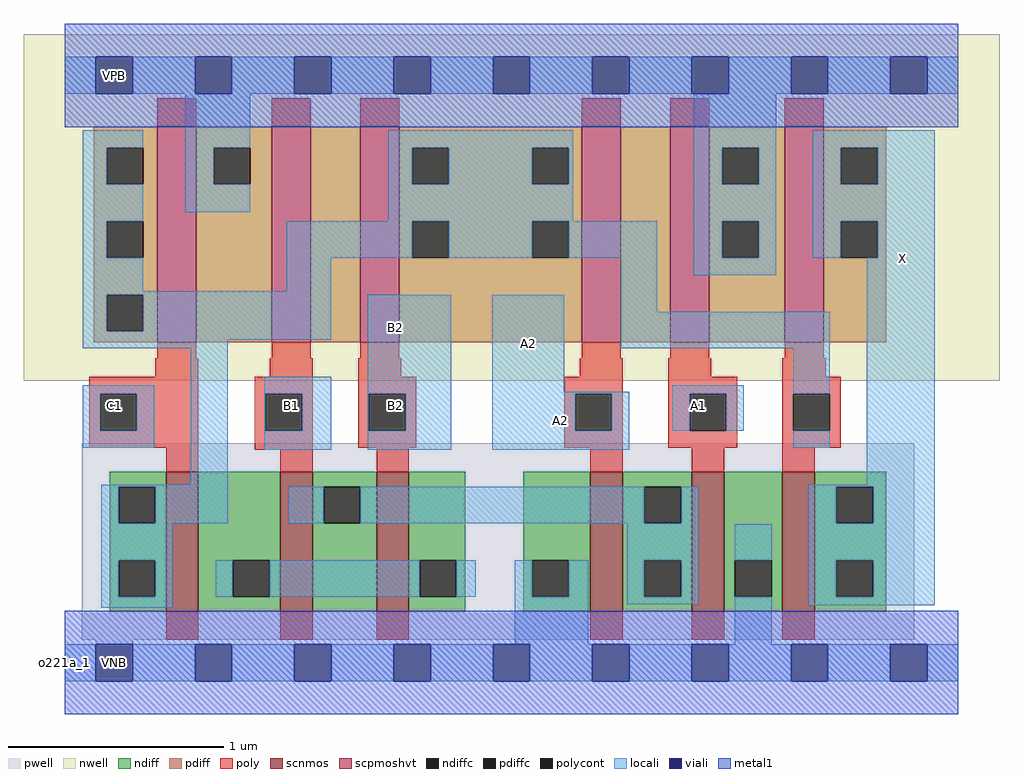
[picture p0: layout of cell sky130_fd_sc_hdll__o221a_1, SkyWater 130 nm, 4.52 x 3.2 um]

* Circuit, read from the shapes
.subckt sky130_fd_sc_hdll__o221a_1 A1 A2 B1 B2 C1 VGND VNB VPB VPWR X
XM1 n1 C1 n2 VNB sky130_fd_pr__nfet_01v8 w=0.65 l=0.15
XM2 n3 B1 n1 VNB sky130_fd_pr__nfet_01v8 w=0.65 l=0.15
XM3 n1 B2 n3 VNB sky130_fd_pr__nfet_01v8 w=0.65 l=0.15
XM4 n3 A2 VGND VNB sky130_fd_pr__nfet_01v8 w=0.65 l=0.15
XM5 VGND A1 n3 VNB sky130_fd_pr__nfet_01v8 w=0.65 l=0.15
XM6 X n2 VGND VNB sky130_fd_pr__nfet_01v8 w=0.65 l=0.15
XM7 VPWR C1 n2 VPB sky130_fd_pr__pfet_01v8_hvt w=1 l=0.18
XM8 n4 B1 VPWR VPB sky130_fd_pr__pfet_01v8_hvt w=1 l=0.18
XM9 n2 B2 n4 VPB sky130_fd_pr__pfet_01v8_hvt w=1 l=0.18
XM10 n5 A2 n2 VPB sky130_fd_pr__pfet_01v8_hvt w=1 l=0.18
XM11 VPWR A1 n5 VPB sky130_fd_pr__pfet_01v8_hvt w=1 l=0.18
XM12 X n2 VPWR VPB sky130_fd_pr__pfet_01v8_hvt w=1 l=0.18
.ends

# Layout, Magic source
magic
tech sky130A
magscale 1 2
<< nwell >>
rect -38 261 866 582
<< pwell >>
rect 16 21 787 203
rect 29 -17 63 21
<< scnmos >>
rect 94 47 124 177
rect 200 47 230 177
rect 289 47 319 177
rect 487 47 517 177
rect 581 47 611 177
rect 665 47 695 177
<< scpmoshvt >>
rect 86 297 122 497
rect 192 297 228 497
rect 274 297 310 497
rect 479 297 515 497
rect 561 297 597 497
rect 667 297 703 497
<< ndiff >>
rect 42 163 94 177
rect 42 129 50 163
rect 84 129 94 163
rect 42 95 94 129
rect 42 61 50 95
rect 84 61 94 95
rect 42 47 94 61
rect 124 95 200 177
rect 124 61 156 95
rect 190 61 200 95
rect 124 47 200 61
rect 230 163 289 177
rect 230 129 240 163
rect 274 129 289 163
rect 230 47 289 129
rect 319 95 371 177
rect 319 61 329 95
rect 363 61 371 95
rect 319 47 371 61
rect 425 95 487 177
rect 425 61 433 95
rect 467 61 487 95
rect 425 47 487 61
rect 517 163 581 177
rect 517 129 537 163
rect 571 129 581 163
rect 517 95 581 129
rect 517 61 537 95
rect 571 61 581 95
rect 517 47 581 61
rect 611 95 665 177
rect 611 61 621 95
rect 655 61 665 95
rect 611 47 665 61
rect 695 163 761 177
rect 695 129 715 163
rect 749 129 761 163
rect 695 95 761 129
rect 695 61 715 95
rect 749 61 761 95
rect 695 47 761 61
<< pdiff >>
rect 27 477 86 497
rect 27 443 39 477
rect 73 443 86 477
rect 27 409 86 443
rect 27 375 39 409
rect 73 375 86 409
rect 27 341 86 375
rect 27 307 39 341
rect 73 307 86 341
rect 27 297 86 307
rect 122 477 192 497
rect 122 443 138 477
rect 172 443 192 477
rect 122 297 192 443
rect 228 297 274 497
rect 310 477 479 497
rect 310 443 322 477
rect 356 443 433 477
rect 467 443 479 477
rect 310 409 479 443
rect 310 375 322 409
rect 356 375 433 409
rect 467 375 479 409
rect 310 297 479 375
rect 515 297 561 497
rect 597 477 667 497
rect 597 443 609 477
rect 643 443 667 477
rect 597 409 667 443
rect 597 375 609 409
rect 643 375 667 409
rect 597 297 667 375
rect 703 477 761 497
rect 703 443 719 477
rect 753 443 761 477
rect 703 409 761 443
rect 703 375 719 409
rect 753 375 761 409
rect 703 297 761 375
<< ndiffc >>
rect 50 129 84 163
rect 50 61 84 95
rect 156 61 190 95
rect 240 129 274 163
rect 329 61 363 95
rect 433 61 467 95
rect 537 129 571 163
rect 537 61 571 95
rect 621 61 655 95
rect 715 129 749 163
rect 715 61 749 95
<< pdiffc >>
rect 39 443 73 477
rect 39 375 73 409
rect 39 307 73 341
rect 138 443 172 477
rect 322 443 356 477
rect 433 443 467 477
rect 322 375 356 409
rect 433 375 467 409
rect 609 443 643 477
rect 609 375 643 409
rect 719 443 753 477
rect 719 375 753 409
<< poly >>
rect 86 497 122 523
rect 192 497 228 523
rect 274 497 310 523
rect 479 497 515 523
rect 561 497 597 523
rect 667 497 703 523
rect 86 282 122 297
rect 192 282 228 297
rect 274 282 310 297
rect 479 282 515 297
rect 561 282 597 297
rect 667 282 703 297
rect 84 265 124 282
rect 190 265 230 282
rect 23 249 124 265
rect 23 215 33 249
rect 67 215 124 249
rect 23 199 124 215
rect 94 177 124 199
rect 176 249 230 265
rect 176 215 186 249
rect 220 215 230 249
rect 176 197 230 215
rect 272 265 312 282
rect 477 265 517 282
rect 272 249 326 265
rect 272 215 282 249
rect 316 215 326 249
rect 272 199 326 215
rect 463 249 517 265
rect 463 215 473 249
rect 507 215 517 249
rect 463 199 517 215
rect 559 265 599 282
rect 665 265 705 282
rect 559 249 623 265
rect 559 215 579 249
rect 613 215 623 249
rect 559 199 623 215
rect 665 249 719 265
rect 665 215 675 249
rect 709 215 719 249
rect 665 199 719 215
rect 200 177 230 197
rect 289 177 319 199
rect 487 177 517 199
rect 581 177 611 199
rect 665 177 695 199
rect 94 21 124 47
rect 200 21 230 47
rect 289 21 319 47
rect 487 21 517 47
rect 581 21 611 47
rect 665 21 695 47
<< polycont >>
rect 33 215 67 249
rect 186 215 220 249
rect 282 215 316 249
rect 473 215 507 249
rect 579 215 613 249
rect 675 215 709 249
<< locali >>
rect 0 527 29 561
rect 63 527 121 561
rect 155 527 213 561
rect 247 527 305 561
rect 339 527 397 561
rect 431 527 489 561
rect 523 527 581 561
rect 615 527 673 561
rect 707 527 765 561
rect 799 527 828 561
rect 17 477 73 493
rect 17 443 39 477
rect 17 409 73 443
rect 112 477 172 527
rect 112 443 138 477
rect 112 417 172 443
rect 300 477 471 493
rect 300 443 322 477
rect 356 443 433 477
rect 467 443 471 477
rect 300 409 471 443
rect 583 477 659 527
rect 583 443 609 477
rect 643 443 659 477
rect 583 409 659 443
rect 17 375 39 409
rect 17 344 73 375
rect 206 375 322 409
rect 356 375 433 409
rect 467 375 549 409
rect 206 344 247 375
rect 17 341 247 344
rect 17 307 39 341
rect 73 307 247 341
rect 17 299 247 307
rect 17 291 151 299
rect 17 249 83 257
rect 17 215 33 249
rect 67 215 83 249
rect 17 199 83 215
rect 117 165 151 291
rect 185 249 247 265
rect 185 215 186 249
rect 220 215 247 249
rect 185 197 247 215
rect 281 249 358 341
rect 281 215 282 249
rect 316 215 358 249
rect 281 197 358 215
rect 396 251 463 341
rect 515 325 549 375
rect 583 375 609 409
rect 643 375 659 409
rect 693 477 806 493
rect 693 443 719 477
rect 753 443 806 477
rect 693 409 806 443
rect 693 375 719 409
rect 753 375 806 409
rect 583 359 659 375
rect 515 291 709 325
rect 396 249 523 251
rect 396 215 473 249
rect 507 215 523 249
rect 563 249 629 257
rect 563 215 579 249
rect 613 215 629 249
rect 675 249 709 291
rect 396 197 523 215
rect 675 199 709 215
rect 743 165 806 375
rect 34 163 151 165
rect 689 163 806 165
rect 34 129 50 163
rect 84 129 151 163
rect 207 129 240 163
rect 274 129 537 163
rect 571 129 587 163
rect 34 95 100 129
rect 521 95 587 129
rect 689 129 715 163
rect 749 129 806 163
rect 34 61 50 95
rect 84 61 100 95
rect 140 61 156 95
rect 190 61 329 95
rect 363 61 381 95
rect 417 61 433 95
rect 467 61 485 95
rect 34 51 100 61
rect 417 17 485 61
rect 521 61 537 95
rect 571 61 587 95
rect 521 54 587 61
rect 621 95 655 128
rect 621 17 655 61
rect 689 95 806 129
rect 689 61 715 95
rect 749 61 806 95
rect 689 53 806 61
rect 0 -17 29 17
rect 63 -17 121 17
rect 155 -17 213 17
rect 247 -17 305 17
rect 339 -17 397 17
rect 431 -17 489 17
rect 523 -17 581 17
rect 615 -17 673 17
rect 707 -17 765 17
rect 799 -17 828 17
<< viali >>
rect 29 527 63 561
rect 121 527 155 561
rect 213 527 247 561
rect 305 527 339 561
rect 397 527 431 561
rect 489 527 523 561
rect 581 527 615 561
rect 673 527 707 561
rect 765 527 799 561
rect 29 -17 63 17
rect 121 -17 155 17
rect 213 -17 247 17
rect 305 -17 339 17
rect 397 -17 431 17
rect 489 -17 523 17
rect 581 -17 615 17
rect 673 -17 707 17
rect 765 -17 799 17
<< metal1 >>
rect 0 561 828 592
rect 0 527 29 561
rect 63 527 121 561
rect 155 527 213 561
rect 247 527 305 561
rect 339 527 397 561
rect 431 527 489 561
rect 523 527 581 561
rect 615 527 673 561
rect 707 527 765 561
rect 799 527 828 561
rect 0 496 828 527
rect 0 17 828 48
rect 0 -17 29 17
rect 63 -17 121 17
rect 155 -17 213 17
rect 247 -17 305 17
rect 339 -17 397 17
rect 431 -17 489 17
rect 523 -17 581 17
rect 615 -17 673 17
rect 707 -17 765 17
rect 799 -17 828 17
rect 0 -48 828 -17
<< labels >>
flabel locali s 396 251 463 341 0 FreeSans 400 0 0 0 A2
port 2 nsew signal input
flabel locali s 759 357 793 391 0 FreeSans 400 0 0 0 X
port 10 nsew signal output
flabel locali s 188 221 232 255 0 FreeSans 400 0 0 0 B1
port 3 nsew signal input
flabel locali s 29 221 63 255 0 FreeSans 400 0 0 0 C1
port 5 nsew signal input
flabel locali s 570 221 604 255 0 FreeSans 400 0 0 0 A1
port 1 nsew signal input
flabel locali s 432 306 432 306 0 FreeSans 400 0 0 0 A2
port 2 nsew
flabel locali s 290 221 324 255 0 FreeSans 400 0 0 0 B2
port 4 nsew signal input
flabel locali s 290 293 324 327 0 FreeSans 400 0 0 0 B2
port 4 nsew signal input
flabel nwell s 29 527 63 561 0 FreeSans 200 0 0 0 VPB
port 8 nsew power bidirectional
flabel pwell s 29 -17 63 17 0 FreeSans 200 0 0 0 VNB
port 7 nsew ground bidirectional
flabel metal1 s 29 -17 63 17 0 FreeSans 200 0 0 0 VGND
port 6 nsew ground bidirectional
flabel metal1 s 29 527 63 561 0 FreeSans 200 0 0 0 VPWR
port 9 nsew power bidirectional
rlabel comment s 0 0 0 0 4 o221a_1
rlabel locali s 396 197 523 251 1 A2
port 2 nsew signal input
<< properties >>
string LEFsite unithd
string LEFclass CORE
string FIXED_BBOX 0 0 828 544
string GDS_FILE $PDKPATH/libs.ref/sky130_fd_sc_hdll/gds/sky130_fd_sc_hdll.gds
string LEFsymmetry X Y R90
string GDS_END 2484088
string GDS_START 2476826
string LEFproperties maskLayoutSubType "abstract" prCellType "standard" originalViewName "layout"
<< end >>
